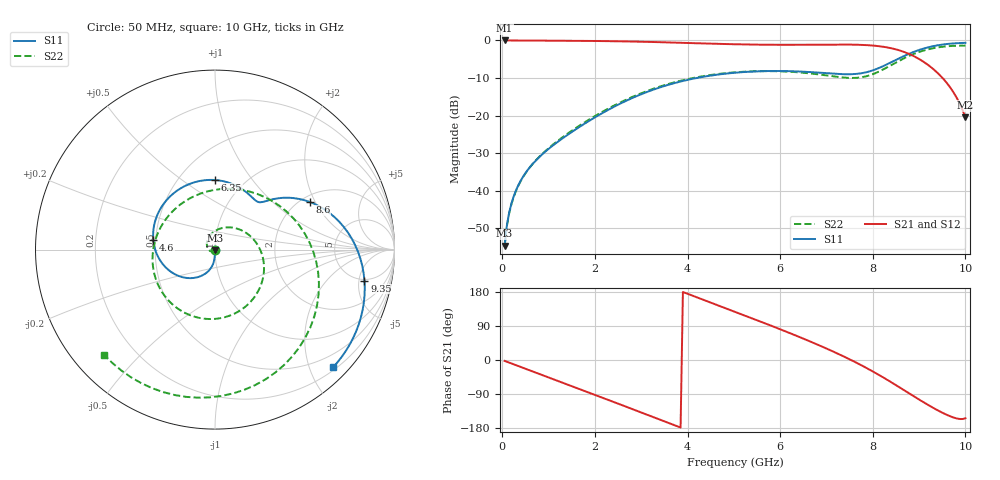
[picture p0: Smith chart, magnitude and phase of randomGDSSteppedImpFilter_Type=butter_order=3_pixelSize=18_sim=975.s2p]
! freq	dB(S11)	phase(S11)	dB(S12)	phase(S12)
!  dB(S21)	phase(S21)	dB(S22)	phase(S22)
!S-par simulation data
#  GHz  S  DB  R 50
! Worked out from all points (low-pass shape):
!   200 points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, 50 MHz to 10 GHz, reference 50 ohm
!   highest |S21| = 0.00 dB at 50 MHz (marker M1); lowest = -20.5 dB at 10 GHz (marker M2)
!   |S21| within 3 dB of the highest: start of sweep to 8.662 GHz
!   lowest |S11| = -54.6 dB at 50 MHz (marker M3), VSWR 1.00, Z = 50 - j0.183 ohm
!   |S11| at or under -10 dB: start of sweep to 4.194 GHz
!   |S22| runs from -54.7 to -1.4 dB; largest |S21 - S12| = 0
!   S11 on the Smith chart (normalised r, x): 50 MHz: 1.00, -0.00; 4.6 GHz: 0.49, +0.06; 6.35 GHz: 0.74, +0.67; 8.6 GHz: 2.22, +1.81; 9.35 GHz: 4.78, -5.97; 10 GHz: 0.25, -2.41
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0.05  -54.64 -81.6  -0.00 -2.3  -0.00 -2.3  -54.74 -86.7
0.1  -49.14 -85.1  -0.01 -4.6  -0.01 -4.6  -49.29 -94.2
0.2  -43.27 -88.0  -0.01 -9.2  -0.01 -9.2  -43.45 -106.1
0.45  -36.22 -90.5  -0.03 -20.6  -0.03 -20.6  -36.32 -131.3
1.15  -27.41 -92.9  -0.07 -52.7  -0.07 -52.7  -27.16 164.4
1.75  -22.36 -96.8  -0.12 -80.3  -0.12 -80.3  -22.01 113.9
2.5  -17.10 -110.7  -0.22 -115.1  -0.22 -115.1  -16.79 59.1
3.4  -12.52 -139.4  -0.46 -157.2  -0.46 -157.2  -12.28 4.2
4  -10.50 -163.0  -0.68 174.8  -0.68 174.8  -10.30 -27.8
4.6  -9.17 171.2  -0.89 147.0  -0.89 147.0  -9.02 -57.3
5.05  -8.56 150.8  -1.02 126.1  -1.02 126.1  -8.46 -78.4
5.7  -8.15 120.2  -1.14 95.6  -1.14 95.6  -8.16 -108.5
6.35  -8.23 89.9  -1.16 64.0  -1.16 64.0  -8.44 -141.0
6.7  -8.46 74.8  -1.14 46.2  -1.14 46.2  -8.84 -161.4
7.6  -8.94 48.2  -1.13 -4.2  -1.13 -4.2  -9.98 121.6
8  -7.96 43.0  -1.36 -30.1  -1.36 -30.1  -8.99 71.8
8.35  -6.10 35.7  -1.95 -55.0  -1.95 -55.0  -6.88 27.6
8.6  -4.58 26.7  -2.74 -73.9  -2.74 -73.9  -5.21 -1.6
8.95  -2.75 9.9  -4.59 -100.6  -4.59 -100.6  -3.28 -39.1
9.35  -1.41 -11.7  -8.09 -129.4  -8.09 -129.4  -1.96 -78.1
9.65  -0.88 -27.6  -12.14 -147.4  -12.14 -147.4  -1.51 -105.4
10  -0.64 -44.7  -20.47 -153.7  -20.47 -153.7  -1.40 -136.5
